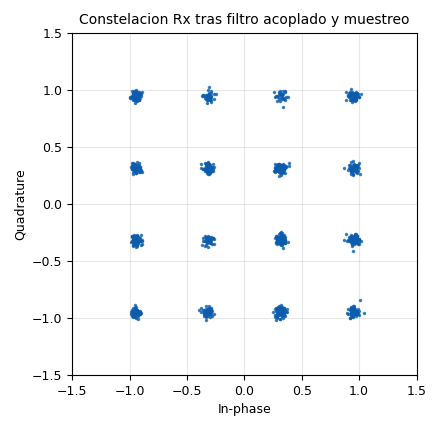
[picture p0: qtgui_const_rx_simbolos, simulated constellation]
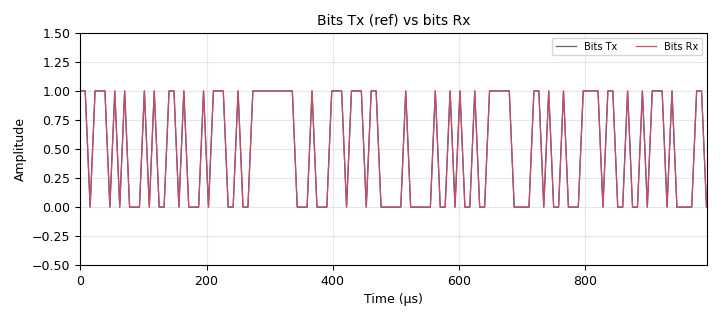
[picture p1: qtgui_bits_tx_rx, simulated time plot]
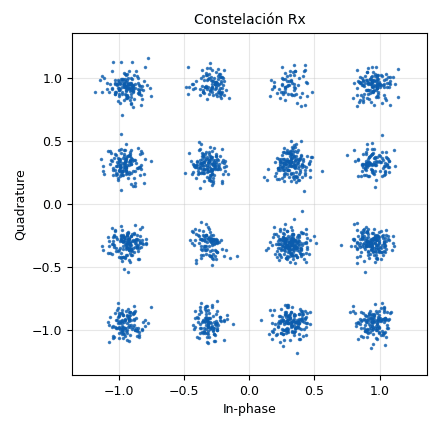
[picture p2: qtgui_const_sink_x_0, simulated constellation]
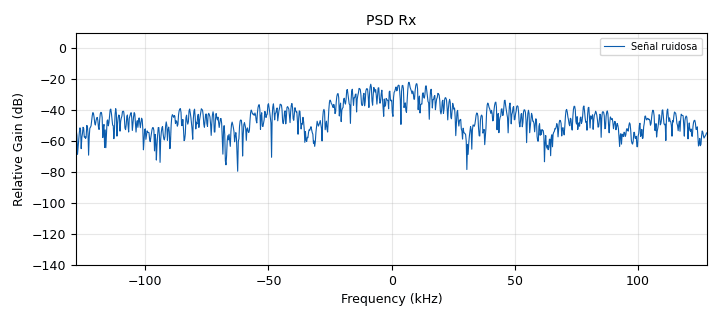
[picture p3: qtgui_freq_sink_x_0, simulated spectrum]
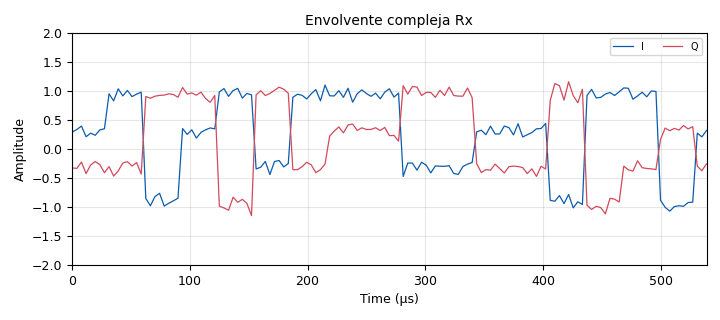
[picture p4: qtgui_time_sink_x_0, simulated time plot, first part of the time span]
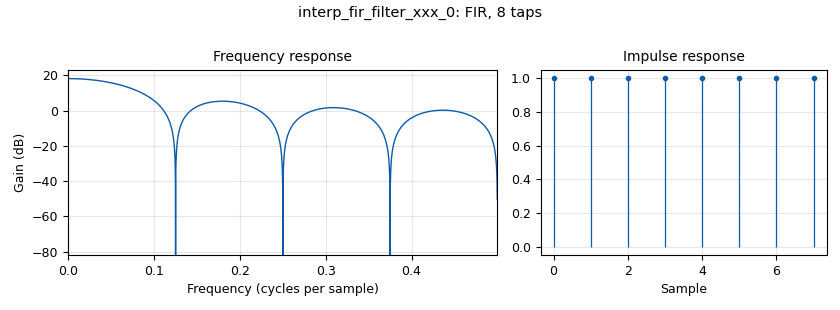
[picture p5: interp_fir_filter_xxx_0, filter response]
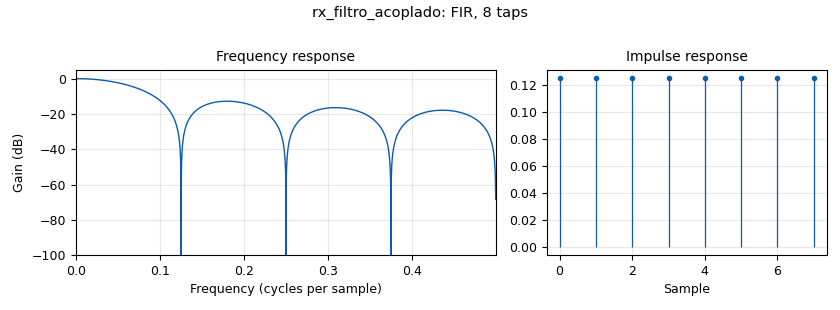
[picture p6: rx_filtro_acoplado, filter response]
options:
  parameters:
    comment: Tx 16QAM + canal AWGN + receptor (filtro acoplado, muestreo, decision, BER)
    description: Receptor 16QAM con filtro acoplado, decimacion, decisor de minima distancia y medicion de BER
    generate_options: qt_gui
    id: Receptor_16QAM
    output_language: python
    title: Receptor 16QAM
  states: {}

blocks:
- name: Rs
  id: variable
  parameters:
    value: '32000'
  states: {}
- name: M
  id: variable
  parameters:
    value: len(tabla_de_verdad_constelacion)
  states: {}
- name: Sps
  id: variable
  parameters:
    value: '8'
  states: {}
- name: tabla_de_verdad_constelacion
  id: variable
  parameters:
    comment: 16QAM con codigo Gray, potencia media normalizada a 1
    value: '[p/math.sqrt(10) for p in (-3-3j, -3-1j, -3+3j, -3+1j, -1-3j, -1-1j, -1+3j, -1+1j, 3-3j, 3-1j, 3+3j, 3+1j, 1-3j, 1-1j, 1+3j, 1+1j)]'
  states: {}
- name: bps
  id: variable
  parameters:
    value: int(math.log(M,2))
  states: {}
- name: Rb
  id: variable
  parameters:
    value: Rs*bps
  states: {}
- name: samp_rate
  id: variable
  parameters:
    value: Rs*Sps
  states: {}
- name: h
  id: variable
  parameters:
    comment: Pulso rectangular Tx
    value: '[1]*Sps'
  states: {}
- name: h_rx
  id: variable
  parameters:
    comment: Filtro acoplado Rx (normalizado)
    value: '[1.0/Sps]*Sps'
  states: {}
- name: constelacion_16qam
  id: variable
  parameters:
    comment: Objeto constelacion para el decisor
    value: digital.constellation_calcdist(tabla_de_verdad_constelacion, [], 4, 1, digital.constellation.NO_NORMALIZATION)
  states: {}
- name: noise_amp
  id: variable_qtgui_range
  parameters:
    label: Amplitud de ruido AWGN
    start: '0'
    step: '0.01'
    stop: '0.5'
    value: '0.10'
  states: {}
- name: retardo
  id: variable_qtgui_range
  parameters:
    comment: Ajuste de alineacion Tx/Rx (simbolos)
    label: Retardo de alineacion (simbolos)
    rangeType: int
    start: '0'
    step: '1'
    stop: '20'
    value: '0'
  states: {}
- name: import_0
  id: import
  parameters:
    imports: |-
      import math
      from gnuradio import digital
  states: {}
- name: analog_random_source_x_0
  id: analog_random_source_x
  parameters:
    max: '2'
    min: '0'
    num_samps: '1000'
    repeat: 'True'
    type: byte
  states: {}
- name: blocks_pack_k_bits_bb_0
  id: blocks_pack_k_bits_bb
  parameters:
    k: '8'
  states: {}
- name: blocks_packed_to_unpacked_xx_0
  id: blocks_packed_to_unpacked_xx
  parameters:
    bits_per_chunk: bps
    endianness: gr.GR_MSB_FIRST
    type: byte
  states: {}
- name: digital_chunks_to_symbols_xx_0
  id: digital_chunks_to_symbols_xx
  parameters:
    dimension: '1'
    in_type: byte
    out_type: complex
    symbol_table: tabla_de_verdad_constelacion
  states: {}
- name: interp_fir_filter_xxx_0
  id: interp_fir_filter_xxx
  parameters:
    interp: Sps
    taps: h
    type: ccf
  states: {}
- name: throttle_0
  id: blocks_throttle2
  parameters:
    samples_per_second: samp_rate
    type: complex
  states: {}
- name: analog_noise_source_x_0
  id: analog_noise_source_x
  parameters:
    amp: noise_amp
    noise_type: analog.GR_GAUSSIAN
    seed: '0'
    type: complex
  states: {}
- name: blocks_add_xx_0
  id: blocks_add_xx
  parameters:
    type: complex
  states: {}
- name: rx_filtro_acoplado
  id: fir_filter_xxx
  parameters:
    type: ccf
    decim: '1'
    taps: h_rx
  states: {}
- name: rx_muestreo
  id: blocks_keep_one_in_n
  parameters:
    type: complex
    n: Sps
  states: {}
- name: rx_decisor
  id: digital_constellation_decoder_cb
  parameters:
    constellation: constelacion_16qam
  states: {}
- name: rx_unpack
  id: blocks_unpack_k_bits_bb
  parameters:
    k: bps
  states: {}
- name: rx_bits_float
  id: blocks_uchar_to_float
  parameters: {}
  states: {}
- name: ref_delay
  id: blocks_delay
  parameters:
    type: byte
    delay: retardo
  states: {}
- name: ref_unpack
  id: blocks_unpack_k_bits_bb
  parameters:
    k: bps
  states: {}
- name: ref_bits_float
  id: blocks_uchar_to_float
  parameters: {}
  states: {}
- name: ber_xor
  id: blocks_xor_xx
  parameters:
    type: byte
    vlen: '1'
  states: {}
- name: ber_unpack
  id: blocks_unpack_k_bits_bb
  parameters:
    k: bps
  states: {}
- name: ber_float
  id: blocks_uchar_to_float
  parameters: {}
  states: {}
- name: ber_promedio
  id: blocks_moving_average_xx
  parameters:
    type: float
    length: '100000'
    scale: 1.0/100000
    max_iter: '4000'
  states: {}
- name: qtgui_ber
  id: qtgui_number_sink
  parameters:
    graph_type: qtgui.NUM_GRAPH_HORIZ
    max: '0.5'
    min: '0'
    name: '"BER (tasa de error de bit)"'
    type: float
    update_time: '0.20'
    label1: BER
  states: {}
- name: qtgui_const_rx_simbolos
  id: qtgui_const_sink_x
  parameters:
    grid: 'True'
    label1: '"Simbolos Rx"'
    legend: 'False'
    name: '"Constelacion Rx tras filtro acoplado y muestreo"'
    size: '1024'
    type: complex
    xmax: '1.5'
    xmin: '-1.5'
    ymax: '1.5'
    ymin: '-1.5'
  states: {}
- name: qtgui_bits_tx_rx
  id: qtgui_time_sink_x
  parameters:
    grid: 'True'
    label1: Bits Tx
    label2: Bits Rx
    name: '"Bits Tx (ref) vs bits Rx"'
    nconnections: '2'
    size: '128'
    srate: Rb
    type: float
    width2: '2'
    ymax: '1.5'
    ymin: '-0.5'
  states: {}
- name: qtgui_const_sink_x_0
  id: qtgui_const_sink_x
  parameters:
    autoscale: 'True'
    grid: 'True'
    label1: '"Señal ruidosa"'
    legend: 'False'
    name: '"Constelación Rx"'
    size: '2048'
    type: complex
  states: {}
- name: qtgui_freq_sink_x_0
  id: qtgui_freq_sink_x
  parameters:
    bw: samp_rate
    fc: '0'
    fftsize: '1024'
    grid: 'True'
    label1: Señal ruidosa
    name: '"PSD Rx"'
    type: complex
  states: {}
- name: qtgui_time_sink_x_0
  id: qtgui_time_sink_x
  parameters:
    grid: 'True'
    label1: I
    label2: Q
    name: '"Envolvente compleja Rx"'
    size: '2048'
    srate: samp_rate
    type: complex
    ymax: '2'
    ymin: '-2'
  states: {}

connections:
- [analog_noise_source_x_0, '0', blocks_add_xx_0, '1']
- [analog_random_source_x_0, '0', blocks_pack_k_bits_bb_0, '0']
- [blocks_add_xx_0, '0', qtgui_const_sink_x_0, '0']
- [blocks_add_xx_0, '0', qtgui_freq_sink_x_0, '0']
- [blocks_add_xx_0, '0', qtgui_time_sink_x_0, '0']
- [blocks_pack_k_bits_bb_0, '0', blocks_packed_to_unpacked_xx_0, '0']
- [blocks_packed_to_unpacked_xx_0, '0', digital_chunks_to_symbols_xx_0, '0']
- [digital_chunks_to_symbols_xx_0, '0', interp_fir_filter_xxx_0, '0']
- [interp_fir_filter_xxx_0, '0', throttle_0, '0']
- [throttle_0, '0', blocks_add_xx_0, '0']
- [blocks_add_xx_0, '0', rx_filtro_acoplado, '0']
- [rx_filtro_acoplado, '0', rx_muestreo, '0']
- [rx_muestreo, '0', rx_decisor, '0']
- [rx_muestreo, '0', qtgui_const_rx_simbolos, '0']
- [rx_decisor, '0', rx_unpack, '0']
- [rx_unpack, '0', rx_bits_float, '0']
- [rx_bits_float, '0', qtgui_bits_tx_rx, '1']
- [blocks_packed_to_unpacked_xx_0, '0', ref_delay, '0']
- [ref_delay, '0', ref_unpack, '0']
- [ref_unpack, '0', ref_bits_float, '0']
- [ref_bits_float, '0', qtgui_bits_tx_rx, '0']
- [ref_delay, '0', ber_xor, '0']
- [rx_decisor, '0', ber_xor, '1']
- [ber_xor, '0', ber_unpack, '0']
- [ber_unpack, '0', ber_float, '0']
- [ber_float, '0', ber_promedio, '0']
- [ber_promedio, '0', qtgui_ber, '0']

metadata:
  file_format: 1
  grc_version: 3.10.12.0
